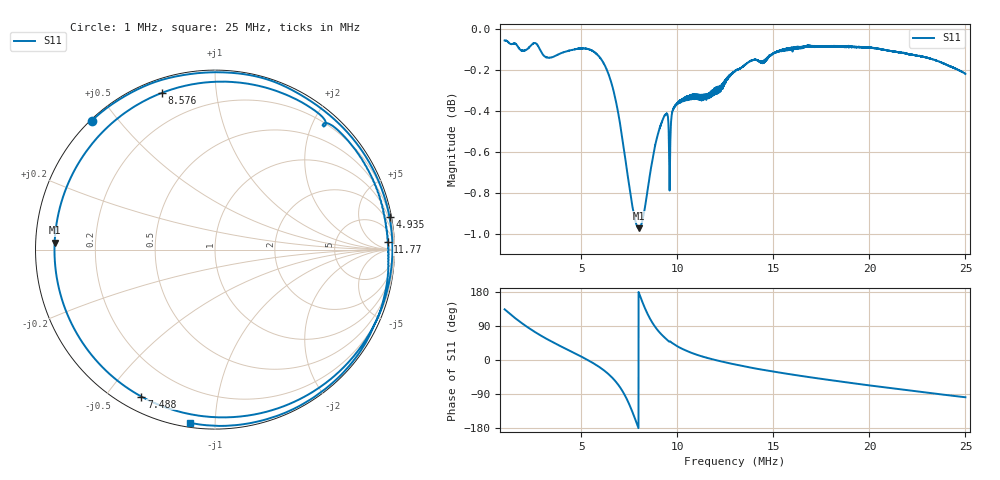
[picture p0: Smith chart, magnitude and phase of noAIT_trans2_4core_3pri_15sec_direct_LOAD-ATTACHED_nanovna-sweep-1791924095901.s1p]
! NanoVNA Web complex sweep
! Processing: unaveraged complex samples; linear segment spacing; no smoothing
# Hz S RI R 50
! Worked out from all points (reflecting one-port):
!   5050 points, 1 MHz to 25 MHz, reference 50 ohm
!   lowest |S11| = -1.0 dB at 7.992 MHz (marker M1), VSWR 17.92, Z = 2.79 + j1.06 ohm
!   phase of S11 starts at 134 deg and turns -592 deg over the sweep
!   S11 on the Smith chart (normalised r, x): 1 MHz: 0.00, +0.43; 4.935 MHz: 1, +11; 7.488 MHz: 0.06, -0.62; 8.576 MHz: 0.06, +0.71; 11.77 MHz: 23, +26; 25 MHz: 0.02, -0.86
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1000000  -0.6872 0.7174
1632149  -0.2932 0.9465
2302322  0.1215 0.9824
3124591  0.5279 0.8308
4003896  0.8168 0.5535
4935484  0.9725 0.1806
5615163  0.9771 -0.1427
6176017  0.8706 -0.451
6622799  0.6528 -0.7145
7003039  0.3037 -0.8989
7264454  -0.0524 -0.9299
7487845  -0.4098 -0.8189
7768272  -0.7928 -0.4251
7991663  -0.8935 0.0379
8134253  -0.8337 0.3301
8295855  -0.6741 0.6025
8576282  -0.2964 0.8731
8861462  0.0667 0.9354
9241702  0.4214 0.8519
9465093  0.57 0.7642
1.000218e7  0.7762 0.563
1.07484e7  0.9126 0.3084
1.176554e7  0.9623 0.0421
1.300132e7  0.9558 -0.1993
1.600047e7  0.7725 -0.6162
1.899961e7  0.4907 -0.8599
2.199875e7  0.1721 -0.9709
2.49979e7  -0.1411 -0.9648
